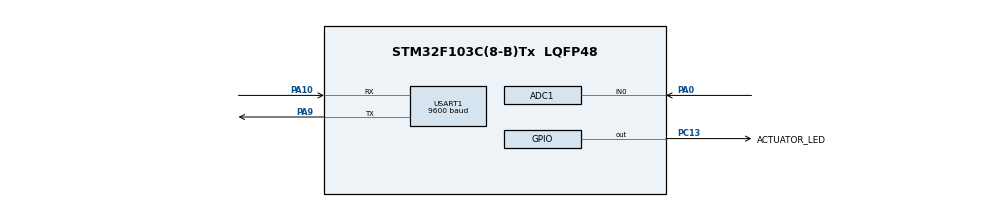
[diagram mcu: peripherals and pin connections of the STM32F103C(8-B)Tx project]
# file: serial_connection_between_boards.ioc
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ADC1.Channel-0\#ChannelRegularConversion=ADC_CHANNEL_0
ADC1.ContinuousConvMode=ENABLE
ADC1.NbrOfConversionFlag=1
ADC1.Rank-0\#ChannelRegularConversion=1
ADC1.SamplingTime-0\#ChannelRegularConversion=ADC_SAMPLETIME_1CYCLE_5
ADC1.master=1
Mcu.Family=STM32F1
Mcu.Name=STM32F103C(8-B)Tx
Mcu.Package=LQFP48
NVIC.PriorityGroup=NVIC_PRIORITYGROUP_4
NVIC.USART1_IRQn=true\:0\:0\:false\:false\:true\:true\:true\:true
PA0-WKUP.Signal=ADCx_IN0
PA10.Mode=Asynchronous
PA10.Signal=USART1_RX
PA9.Mode=Asynchronous
PA9.Signal=USART1_TX
PC13-TAMPER-RTC.GPIO_Label=ACTUATOR_LED
PC13-TAMPER-RTC.PinState=GPIO_PIN_SET
PC13-TAMPER-RTC.Signal=GPIO_Output
ProjectManager.HeapSize=0x200
ProjectManager.StackSize=0x400
ProjectManager.TargetToolchain=STM32CubeIDE
RCC.APB1Freq_Value=8000000
RCC.APB2Freq_Value=8000000
SH.ADCx_IN0.0=ADC1_IN0,IN0
USART1.BaudRate=9600
USART1.VirtualMode=VM_ASYNC
VP_SYS_VS_ND.Mode=No_Debug
board=custom

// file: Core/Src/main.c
/* USER CODE BEGIN Header */
/**
  ******************************************************************************
  * @file           : main.c
  * @brief          : Main program body for Board 1
  ******************************************************************************
  */
/* USER CODE END Header */
#include "main.h"

ADC_HandleTypeDef hadc1;

UART_HandleTypeDef huart1;

/* USER CODE BEGIN PV */
uint32_t adcValue = 0;
uint32_t lastDisplayTick = 0;
uint8_t rxByte;
char rxBuffer[50];
uint8_t rxIndex = 0;

// Holds text messages sent from Board 2
char messageFromBoard2[50] = "None";
/* USER CODE END PV */

void SystemClock_Config(void);
static void MX_GPIO_Init(void);
static void MX_ADC1_Init(void);
static void MX_USART1_UART_Init(void);
/* USER CODE BEGIN PFP */
void printLocalConsole(void);
/* USER CODE END PFP */

/* USER CODE BEGIN 0 */
void printLocalConsole(void)
{
    char uiBuffer[250];
    // Check actual pin state to show accurate LED status on the display
    char* ledStatus = (HAL_GPIO_ReadPin(ACTUATOR_LED_GPIO_Port, ACTUATOR_LED_Pin) == GPIO_PIN_RESET) ? "ON" : "OFF";

    snprintf(uiBuffer, sizeof(uiBuffer),
             "\033[H" // Move cursor to top-left instead of full clear to prevent flickering
             "--- BOARD #1 (DISPLAY ONLY) ---\r\n"
             "Local Potentiometer (ADC): %lu\r\n"
             "Actuator LED Status      : %s\r\n"
             "Message from Board 2     : %s\r\n",
             adcValue, ledStatus, messageFromBoard2);

    HAL_UART_Transmit(&huart1, (uint8_t*)uiBuffer, strlen(uiBuffer), 100);
}

void HAL_UART_RxCpltCallback(UART_HandleTypeDef *huart)
{
    if (huart->Instance == USART1)
    {
        // Board 1 receives raw data packets from Board 2 over the wire
        if (rxByte == '\r' || rxByte == '\n')
        {
            if (rxIndex > 0)
            {
                rxBuffer[rxIndex] = '\0';

                // Intercept Command Packets from Board 2
                if (strcmp(rxBuffer, "#CMD_LED_ON") == 0)
                {
                    HAL_GPIO_WritePin(ACTUATOR_LED_GPIO_Port, ACTUATOR_LED_Pin, GPIO_PIN_RESET); // Turn ON (Active Low)
                    printLocalConsole();
                }
                else if (strcmp(rxBuffer, "#CMD_LED_OFF") == 0)
                {
                    HAL_GPIO_WritePin(ACTUATOR_LED_GPIO_Port, ACTUATOR_LED_Pin, GPIO_PIN_SET);  // Turn OFF
                    printLocalConsole();
                }
                // Intercept Regular Message Packets
                else if (rxBuffer[0] == '#')
                {
                    strncpy(messageFromBoard2, &rxBuffer[1], sizeof(messageFromBoard2) - 1);
                    printLocalConsole();
                }

                rxIndex = 0;
                memset(rxBuffer, 0, sizeof(rxBuffer));
            }
        }
        else if (rxIndex < sizeof(rxBuffer) - 1)
        {
            // CRITICAL: Removed the HAL_UART_Transmit echo here!
            // Board 1 terminal will no longer show user typing.
            rxBuffer[rxIndex++] = (char)rxByte;
        }
        HAL_UART_Receive_IT(&huart1, &rxByte, 1);
    }
}
/* USER CODE END 0 */

int main(void)
{

  /* MCU Configuration--------------------------------------------------------*/

  /* Reset of all peripherals, Initializes the Flash interface and the Systick. */
  HAL_Init();

  /* Configure the system clock */
  SystemClock_Config();

  /* Initialize all configured peripherals */
  MX_GPIO_Init();
  MX_ADC1_Init();
  MX_USART1_UART_Init();
  /* USER CODE BEGIN 2 */
  char clearScreen[] = "\033[2J\033[H";
  HAL_UART_Transmit(&huart1, (uint8_t*)clearScreen, strlen(clearScreen), HAL_MAX_DELAY);
  HAL_UART_Receive_IT(&huart1, &rxByte, 1);
  /* USER CODE END 2 */

  /* Infinite loop */
  /* USER CODE BEGIN WHILE */
  /* USER CODE BEGIN WHILE */
    while (1)
    {
      if (HAL_GetTick() - lastDisplayTick >= 1000)
      {
          lastDisplayTick = HAL_GetTick();

          // Read ADC Value
          HAL_ADC_Start(&hadc1);
          if (HAL_ADC_PollForConversion(&hadc1, 100) == HAL_OK)
          {
              adcValue = HAL_ADC_GetValue(&hadc1);
          }

          // Refresh local Terminal 1 monitor display
          printLocalConsole();

          // Stream the numerical data packet to Board 2 over the link
          char adcPacket[20];
          snprintf(adcPacket, sizeof(adcPacket), "ADC=%lu\n", adcValue);
          HAL_UART_Transmit(&huart1, (uint8_t*)adcPacket, strlen(adcPacket), 100);
      }
    /* USER CODE END WHILE */

  }
}

void SystemClock_Config(void)
{
  RCC_OscInitTypeDef RCC_OscInitStruct = {0};
  RCC_ClkInitTypeDef RCC_ClkInitStruct = {0};
  RCC_PeriphCLKInitTypeDef PeriphClkInit = {0};

  /** Initializes the RCC Oscillators according to the specified parameters
  * in the RCC_OscInitTypeDef structure.
  */
  RCC_OscInitStruct.OscillatorType = RCC_OSCILLATORTYPE_HSI;
  RCC_OscInitStruct.HSIState = RCC_HSI_ON;
  RCC_OscInitStruct.HSICalibrationValue = RCC_HSICALIBRATION_DEFAULT;
  RCC_OscInitStruct.PLL.PLLState = RCC_PLL_NONE;
  if (HAL_RCC_OscConfig(&RCC_OscInitStruct) != HAL_OK)
  {
    Error_Handler();
  }

  /** Initializes the CPU, AHB and APB buses clocks
  */
  RCC_ClkInitStruct.ClockType = RCC_CLOCKTYPE_HCLK|RCC_CLOCKTYPE_SYSCLK
                              |RCC_CLOCKTYPE_PCLK1|RCC_CLOCKTYPE_PCLK2;
  RCC_ClkInitStruct.SYSCLKSource = RCC_SYSCLKSOURCE_HSI;
  RCC_ClkInitStruct.AHBCLKDivider = RCC_SYSCLK_DIV1;
  RCC_ClkInitStruct.APB1CLKDivider = RCC_HCLK_DIV1;
  RCC_ClkInitStruct.APB2CLKDivider = RCC_HCLK_DIV1;

  if (HAL_RCC_ClockConfig(&RCC_ClkInitStruct, FLASH_LATENCY_0) != HAL_OK)
  {
    Error_Handler();
  }
  PeriphClkInit.PeriphClockSelection = RCC_PERIPHCLK_ADC;
  PeriphClkInit.AdcClockSelection = RCC_ADCPCLK2_DIV2;
  if (HAL_RCCEx_PeriphCLKConfig(&PeriphClkInit) != HAL_OK)
  {
    Error_Handler();
  }
}

static void MX_ADC1_Init(void)
{

  ADC_ChannelConfTypeDef sConfig = {0};

  /** Common config
  */
  hadc1.Instance = ADC1;
  hadc1.Init.ScanConvMode = ADC_SCAN_DISABLE;
  hadc1.Init.ContinuousConvMode = ENABLE;
  hadc1.Init.DiscontinuousConvMode = DISABLE;
  hadc1.Init.ExternalTrigConv = ADC_SOFTWARE_START;
  hadc1.Init.DataAlign = ADC_DATAALIGN_RIGHT;
  hadc1.Init.NbrOfConversion = 1;
  if (HAL_ADC_Init(&hadc1) != HAL_OK)
  {
    Error_Handler();
  }

  /** Configure Regular Channel
  */
  sConfig.Channel = ADC_CHANNEL_0;
  sConfig.Rank = ADC_REGULAR_RANK_1;
  sConfig.SamplingTime = ADC_SAMPLETIME_1CYCLE_5;
  if (HAL_ADC_ConfigChannel(&hadc1, &sConfig) != HAL_OK)
  {
    Error_Handler();
  }

}

static void MX_USART1_UART_Init(void)
{

  huart1.Instance = USART1;
  huart1.Init.BaudRate = 9600;
  huart1.Init.WordLength = UART_WORDLENGTH_8B;
  huart1.Init.StopBits = UART_STOPBITS_1;
  huart1.Init.Parity = UART_PARITY_NONE;
  huart1.Init.Mode = UART_MODE_TX_RX;
  huart1.Init.HwFlowCtl = UART_HWCONTROL_NONE;
  huart1.Init.OverSampling = UART_OVERSAMPLING_16;
  if (HAL_UART_Init(&huart1) != HAL_OK)
  {
    Error_Handler();
  }

}

static void MX_GPIO_Init(void)
{
  GPIO_InitTypeDef GPIO_InitStruct = {0};

  /* GPIO Ports Clock Enable */
  __HAL_RCC_GPIOC_CLK_ENABLE();
  __HAL_RCC_GPIOA_CLK_ENABLE();

  /*Configure GPIO pin Output Level */
  HAL_GPIO_WritePin(ACTUATOR_LED_GPIO_Port, ACTUATOR_LED_Pin, GPIO_PIN_SET);

  /*Configure GPIO pin : ACTUATOR_LED_Pin */
  GPIO_InitStruct.Pin = ACTUATOR_LED_Pin;
  GPIO_InitStruct.Mode = GPIO_MODE_OUTPUT_PP;
  GPIO_InitStruct.Pull = GPIO_NOPULL;
  GPIO_InitStruct.Speed = GPIO_SPEED_FREQ_LOW;
  HAL_GPIO_Init(ACTUATOR_LED_GPIO_Port, &GPIO_InitStruct);

}

void Error_Handler(void)
{
  __disable_irq();
  while (1) {}
}
